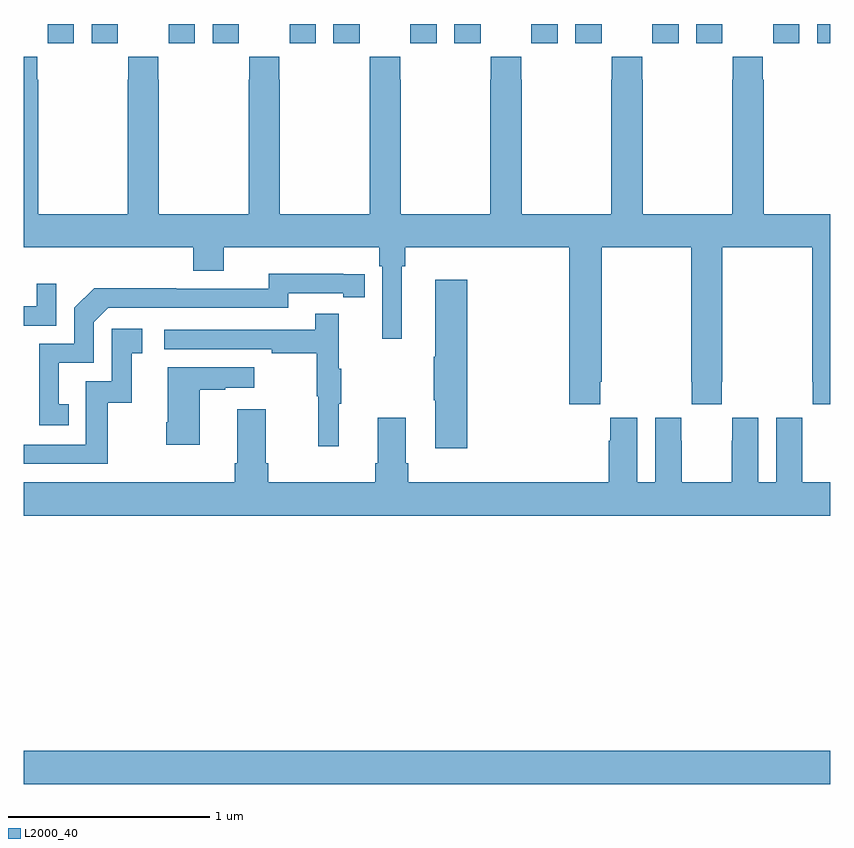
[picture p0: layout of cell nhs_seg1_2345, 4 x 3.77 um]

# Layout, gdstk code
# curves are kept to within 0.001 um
import gdstk
lib = gdstk.Library(unit=1e-6, precision=1e-09)
def R(c, l, rs):  # rectangles x0, y0, x1, y1
    for r in rs: c.add(gdstk.rectangle(r[:2], r[2:], *l))
def P(c, l, *ps):  # polygons
    for p in ps: c.add(gdstk.Polygon(p, *l))
L2000_40 = (2000, 40)

nhs_seg1_2345 = lib.new_cell('nhs_seg1_2345')
R(nhs_seg1_2345, L2000_40, [(239,522.428,243,522.592), (239.118,526.104,239.248,526.199), (239.336,526.104,239.466,526.199), (239.718,526.104,239.848,526.199), (239.936,526.104,240.066,526.199), (240.318,526.104,240.448,526.199), (240.536,526.104,240.666,526.199), (240.918,526.104,241.048,526.199), (241.136,526.104,241.266,526.199), (241.518,526.104,241.648,526.199), (241.736,526.104,241.866,526.199), (242.118,526.104,242.248,526.199), (242.336,526.104,242.466,526.199), (242.718,526.104,242.848,526.199), (242.936,526.104,243,526.199)])
P(nhs_seg1_2345, L2000_40, [(242.667,525.923),(242.667,526.036),(242.517,526.036),(242.517,525.923),(242.515,525.923),(242.515,525.256),(242.07,525.256),(242.07,525.923),(242.067,525.923),(242.067,526.036),(241.917,526.036),(241.917,525.923),(241.915,525.923),(241.915,525.256),(241.47,525.256),(241.47,525.923),(241.467,525.923),(241.467,526.036),(241.317,526.036),(241.317,525.923),(241.315,525.923),(241.315,525.256),(240.87,525.256),(240.87,525.923),(240.867,525.923),(240.867,526.036),(240.717,526.036),(240.717,525.923),(240.715,525.923),(240.715,525.256),(240.27,525.256),(240.27,525.923),(240.267,525.923),(240.267,526.036),(240.117,526.036),(240.117,525.923),(240.115,525.923),(240.115,525.256),(239.67,525.256),(239.67,525.923),(239.667,525.923),(239.667,526.036),(239.517,526.036),(239.517,525.923),(239.515,525.923),(239.515,525.256),(239.07,525.256),(239.07,525.923),(239.067,525.923),(239.067,526.036),(239,526.036),(239,525.092),(239.84,525.092),(239.84,524.975),(239.992,524.975),(239.992,525.092),(240.764,525.092),(240.764,524.996),(240.777,524.996),(240.777,524.637),(240.874,524.637),(240.874,524.996),(240.893,524.996),(240.893,525.092),(241.706,525.092),(241.706,524.313),(241.859,524.313),(241.859,524.425),(241.866,524.425),(241.866,525.092),(242.311,525.092),(242.311,524.425),(242.313,524.425),(242.313,524.313),(242.463,524.313),(242.463,524.425),(242.466,524.425),(242.466,525.092),(242.911,525.092),(242.911,524.425),(242.913,524.425),(242.913,524.313),(243,524.313),(243,525.256),(242.67,525.256),(242.67,525.923)],
  [(239.222,524.313),(239.173,524.313),(239.173,524.517),(239.346,524.517),(239.346,524.718),(239.418,524.79),(240.312,524.79),(240.312,524.862),(240.584,524.862),(240.584,524.842),(240.692,524.842),(240.692,524.958),(240.216,524.959),(240.216,524.886),(239.756,524.886),(239.756,524.888),(239.348,524.888),(239.25,524.79),(239.25,524.613),(239.076,524.613),(239.076,524.208),(239.222,524.208)],
  [(241.199,524.929),(241.04,524.929),(241.04,524.549),(241.033,524.549),(241.033,524.332),(241.04,524.332),(241.04,524.094),(241.199,524.094)],
  [(239.16,524.911),(239.063,524.911),(239.063,524.799),(239,524.799),(239,524.703),(239.16,524.703)],
  [(240.563,524.315),(240.574,524.315),(240.574,524.489),(240.563,524.489),(240.563,524.761),(240.445,524.761),(240.445,524.682),(239.697,524.682),(239.697,524.586),(240.229,524.586),(240.229,524.566),(240.453,524.566),(240.453,524.352),(240.46,524.352),(240.46,524.103),(240.563,524.103)],
  [(239.416,524.319),(239.534,524.319),(239.534,524.565),(239.587,524.565),(239.587,524.686),(239.436,524.686),(239.436,524.427),(239.307,524.427),(239.307,524.112),(239,524.112),(239,524.016),(239.416,524.016)],
  [(239.872,524.383),(239.999,524.383),(239.999,524.393),(240.142,524.393),(240.142,524.497),(239.714,524.497),(239.714,524.224),(239.707,524.224),(239.707,524.112),(239.872,524.112)],
  [(243,523.924),(242.863,523.924),(242.863,524.132),(242.862,524.132),(242.862,524.245),(242.732,524.245),(242.732,523.924),(242.644,523.924),(242.644,524.245),(242.514,524.245),(242.514,524.132),(242.513,524.132),(242.513,523.924),(242.263,523.924),(242.263,524.132),(242.262,524.132),(242.262,524.245),(242.132,524.245),(242.132,523.924),(242.044,523.924),(242.044,524.245),(241.91,524.245),(241.91,524.132),(241.901,524.132),(241.901,523.924),(240.908,523.924),(240.908,524.02),(240.895,524.02),(240.895,524.245),(240.755,524.245),(240.755,524.02),(240.743,524.02),(240.743,523.924),(240.212,523.924),(240.212,524.02),(240.199,524.02),(240.199,524.287),(240.059,524.287),(240.059,524.02),(240.047,524.02),(240.047,523.924),(239,523.924),(239,523.76),(243,523.76)])

lib.write_gds('nhs_seg1_2345.gds')
